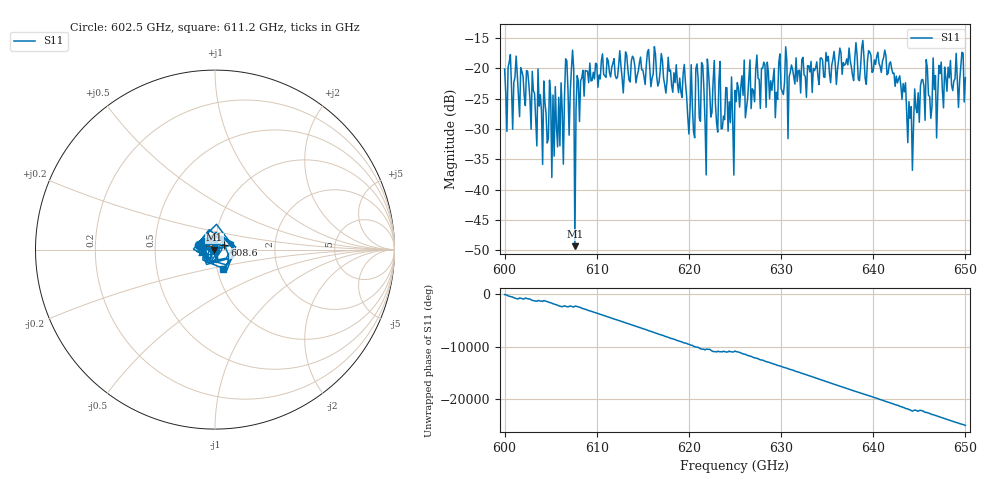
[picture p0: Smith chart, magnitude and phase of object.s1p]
!Created with skrf (http://scikit-rf.org).
# GHz S MA R 50.0
!freq magS11 angS11
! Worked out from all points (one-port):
!   401 points, 600 GHz to 650 GHz, reference 50 ohm
!   lowest |S11| = -49.3 dB at 607.6 GHz (marker M1), VSWR 1.01, Z = 49.7 - j0.0854 ohm
!   |S11| at or under -10 dB: start of sweep to end of sweep
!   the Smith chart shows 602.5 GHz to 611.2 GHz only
!   S11 on the Smith chart (normalised r, x): 602.5 GHz: 0.83, +0.04; 608.6 GHz: 1.11, +0.06; 611.2 GHz: 1.07, -0.23
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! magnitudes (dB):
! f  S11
! 600 GHz  -20.1
! 602.5 GHz  -20.5
! 604.9 GHz  -22.0
! 606.2 GHz  -26.8
! 607.2 GHz  -20.2
! 607.6 GHz  -49.3
! 607.9 GHz  -21.2
! 608 GHz  -22.1
! 608.6 GHz  -24.6
! 611.2 GHz  -18.8
! 612.5 GHz  -17.1
! 618.8 GHz  -22.5
! 619.5 GHz  -19.4
! 619.9 GHz  -28.0
! 622.2 GHz  -23.7
! 625 GHz  -23.6
! 625.8 GHz  -21.2
! 628.2 GHz  -19.4
! 629.4 GHz  -28.1
! 631.2 GHz  -20.2
! 637.5 GHz  -18.7
! 641.2 GHz  -17.0
! 643.8 GHz  -32.3
! 644.5 GHz  -23.4
! 645.6 GHz  -28.6
! 646.1 GHz  -24.6
! 647.2 GHz  -20.9
! 650 GHz  -21.5
